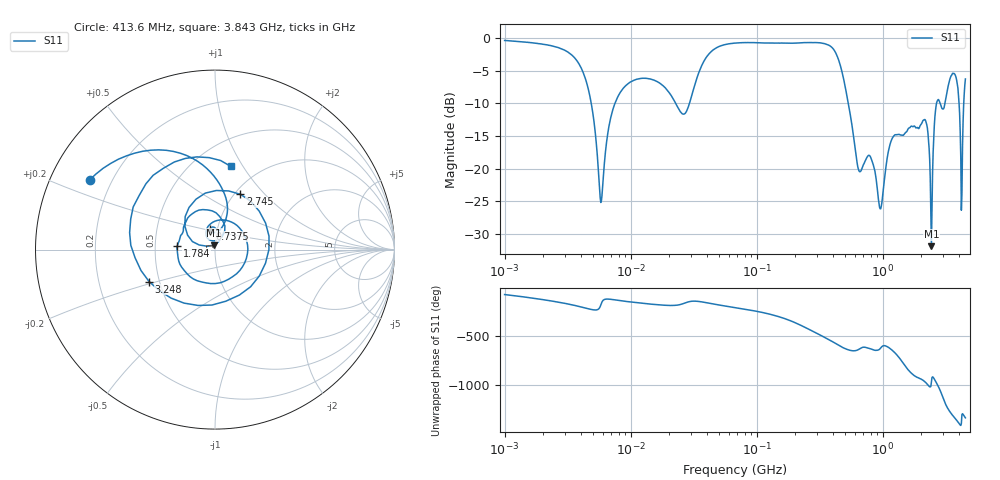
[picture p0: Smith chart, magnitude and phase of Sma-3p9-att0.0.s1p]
!Keysight Technologies,P5024A,MY58100101,A.14.10.13
!Date: Tuesday, October 27, 2020 17:20:16
!Correction: S11(C  2-Port  )
!S1P File: Measurement: :Log Frequency Sweep
# Hz S  dB  R 50
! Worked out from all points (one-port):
!   801 points, 1 MHz to 4.5 GHz, reference 50 ohm
!   lowest |S11| = -31.9 dB at 2.42 GHz (marker M1), VSWR 1.05, Z = 49.2 + j2.39 ohm
!   |S11| at or under -10 dB: 530.8 MHz to 2.656 GHz (2.125 GHz wide, 133 % of centre); 2.841 GHz to 3.096 GHz (255.9 MHz wide, 8.62 % of centre); 4.009 GHz to 4.365 GHz (356.2 MHz wide, 8.51 % of centre)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
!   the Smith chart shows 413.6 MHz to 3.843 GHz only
!   S11 on the Smith chart (normalised r, x): 413.6 MHz: 0.12, +0.26; 737.5 MHz: 0.92, +0.22; 1.784 GHz: 0.65, +0.03; 2.745 GHz: 1.07, +0.74; 3.248 GHz: 0.44, -0.19; 3.843 GHz: 0.74, +0.89
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1000000  -0.34 -74.5
2892132  -1.70 -160.4
4497920  -7.01 143.3
5789061  -25.19 179.0
8190363  -8.42 -136.0
2.343984e7  -10.49 177.6
3.762252e7  -3.69 -152.1
6.708204e7  -0.74 152.0
1.273983e8  -0.74 83.9
1.919808e8  -0.75 8.8
2.29556e8  -0.68 -36.6
2.803189e8  -0.66 -92.9
3.495821e8  -0.87 -156.5
4.136314e8  -1.95 151.0
5.494262e8  -11.65 74.9
7.375166e8  -18.44 103.3
9.592564e8  -26.16 99.3
1.15913e9  -15.76 85.7
1.589013e9  -13.84 -126.4
1.783853e9  -13.50 174.0
2.178326e9  -12.66 106.9
2.419848e9  -31.89 107.5
2.745278e9  -9.39 65.2
2.924054e9  -10.71 -15.2
3.248258e9  -7.78 -154.2
3.843393e9  -6.53 79.1
4.18068e9  -26.38 47.8
4.5e9  -6.24 105.2
